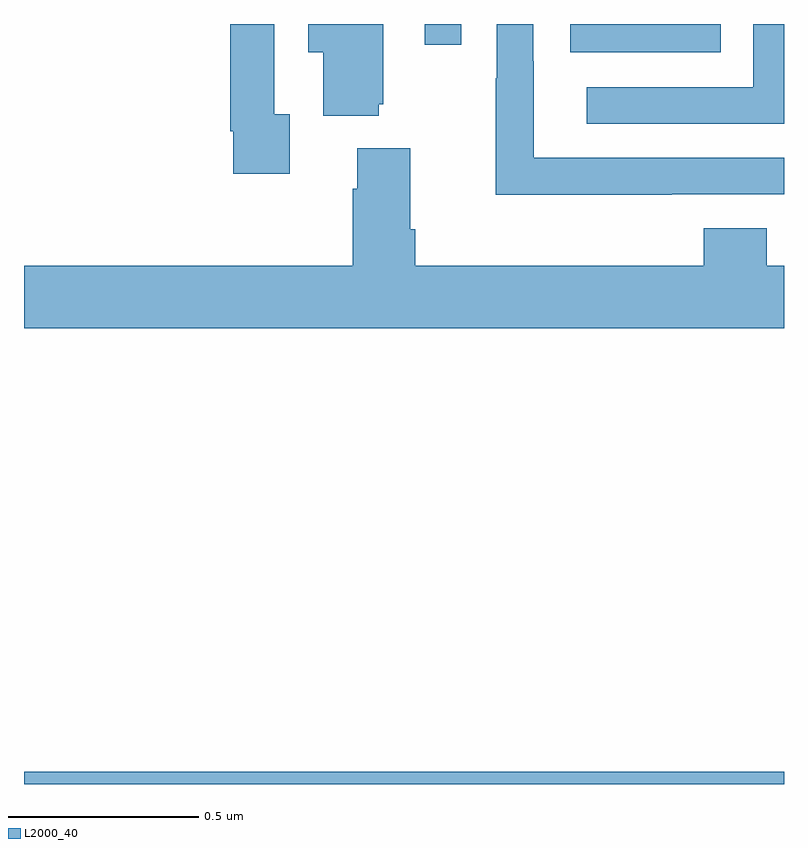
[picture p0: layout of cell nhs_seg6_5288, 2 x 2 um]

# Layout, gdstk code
import gdstk
lib = gdstk.Library(unit=1e-6, precision=1e-09)
def R(c, l, rs):  # rectangles x0, y0, x1, y1
    for r in rs: c.add(gdstk.rectangle(r[:2], r[2:], *l))
def P(c, l, *ps):  # polygons
    for p in ps: c.add(gdstk.Polygon(p, *l))
L2000_40 = (2000, 40)

nhs_seg6_5288 = lib.new_cell('nhs_seg6_5288')
R(nhs_seg6_5288, L2000_40, [(181,915.5,183,915.532), (182.438,917.426,182.834,917.5), (182.055,917.445,182.151,917.5)])
P(nhs_seg6_5288, L2000_40, [(183,917.5),(182.919,917.5),(182.919,917.334),(182.481,917.334),(182.481,917.238),(183,917.238)],
  [(181.699,917.262),(181.659,917.262),(181.659,917.5),(181.543,917.5),(181.543,917.218),(181.551,917.218),(181.551,917.106),(181.699,917.106)],
  [(181.934,917.289),(181.945,917.289),(181.945,917.5),(181.748,917.5),(181.748,917.426),(181.787,917.426),(181.787,917.258),(181.934,917.258)],
  [(182.705,917.052),(183,917.052),(183,917.148),(182.341,917.148),(182.341,917.402),(182.34,917.402),(182.34,917.5),(182.244,917.5),(182.244,917.357),(182.242,917.357),(182.242,917.051),(182.705,917.051)],
  [(183,916.864),(182.954,916.864),(182.954,916.963),(182.789,916.963),(182.789,916.864),(182.03,916.864),(182.03,916.96),(182.017,916.96),(182.017,917.173),(181.877,917.173),(181.877,917.066),(181.865,917.066),(181.865,916.864),(181,916.864),(181,916.7),(183,916.7)])

lib.write_gds('nhs_seg6_5288.gds')
